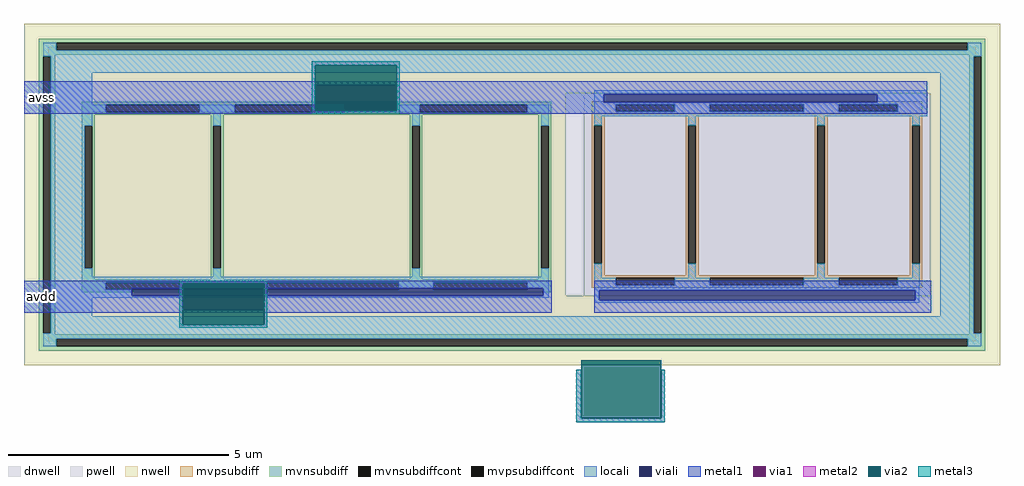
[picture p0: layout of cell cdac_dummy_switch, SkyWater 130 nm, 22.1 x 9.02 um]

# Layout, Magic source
magic
tech sky130A
magscale 1 2
<< dnwell >>
rect 44121 -15586 48322 -14252
<< nwell >>
rect 44011 -14464 48431 -14149
rect 44011 -15380 46465 -14464
rect 48116 -15380 48431 -14464
rect 44011 -15695 48431 -15380
<< pwell >>
rect 46546 -15380 48116 -14464
<< mvpsubdiff >>
rect 46582 -14512 48080 -14500
rect 46582 -14546 46690 -14512
rect 46958 -14546 47116 -14512
rect 47542 -14546 47700 -14512
rect 47968 -14546 48080 -14512
rect 46582 -14558 48080 -14546
rect 46582 -14608 46640 -14558
rect 46582 -15236 46594 -14608
rect 46628 -15236 46640 -14608
rect 46582 -15286 46640 -15236
rect 47008 -14608 47066 -14558
rect 47008 -15236 47020 -14608
rect 47054 -15236 47066 -14608
rect 47008 -15286 47066 -15236
rect 47592 -14608 47650 -14558
rect 47592 -15236 47604 -14608
rect 47638 -15236 47650 -14608
rect 47592 -15286 47650 -15236
rect 48022 -14608 48080 -14558
rect 48022 -15236 48034 -14608
rect 48068 -15236 48080 -14608
rect 48022 -15286 48080 -15236
rect 46582 -15298 48080 -15286
rect 46582 -15332 46690 -15298
rect 46958 -15332 47116 -15298
rect 47542 -15332 47700 -15298
rect 47968 -15332 48080 -15298
rect 46582 -15344 48080 -15332
<< mvnsubdiff >>
rect 44078 -14235 48365 -14215
rect 44078 -14269 44158 -14235
rect 48285 -14269 48365 -14235
rect 44078 -14289 48365 -14269
rect 44078 -14295 44152 -14289
rect 44078 -15549 44098 -14295
rect 44132 -15549 44152 -14295
rect 48291 -14295 48365 -14289
rect 44273 -14514 46399 -14502
rect 44273 -14548 44381 -14514
rect 44807 -14548 44965 -14514
rect 45463 -14548 45803 -14514
rect 46291 -14548 46399 -14514
rect 44273 -14560 46399 -14548
rect 44273 -14610 44331 -14560
rect 44273 -15256 44285 -14610
rect 44319 -15256 44331 -14610
rect 44273 -15306 44331 -15256
rect 44857 -14610 44915 -14560
rect 44857 -15256 44869 -14610
rect 44903 -15256 44915 -14610
rect 44857 -15306 44915 -15256
rect 45757 -14610 45815 -14560
rect 45757 -15256 45769 -14610
rect 45803 -15256 45815 -14610
rect 45757 -15306 45815 -15256
rect 46341 -14610 46399 -14560
rect 46341 -15256 46353 -14610
rect 46387 -15256 46399 -14610
rect 46341 -15306 46399 -15256
rect 44273 -15318 46399 -15306
rect 44273 -15352 44381 -15318
rect 45707 -15352 45865 -15318
rect 46291 -15352 46399 -15318
rect 44273 -15364 46399 -15352
rect 44078 -15555 44152 -15549
rect 48291 -15549 48311 -14295
rect 48345 -15549 48365 -14295
rect 48291 -15555 48365 -15549
rect 44078 -15575 48365 -15555
rect 44078 -15609 44158 -15575
rect 48285 -15609 48365 -15575
rect 44078 -15629 48365 -15609
<< mvpsubdiffcont >>
rect 46690 -14546 46958 -14512
rect 47116 -14546 47542 -14512
rect 47700 -14546 47968 -14512
rect 46594 -15236 46628 -14608
rect 47020 -15236 47054 -14608
rect 47604 -15236 47638 -14608
rect 48034 -15236 48068 -14608
rect 46690 -15332 46958 -15298
rect 47116 -15332 47542 -15298
rect 47700 -15332 47968 -15298
<< mvnsubdiffcont >>
rect 44158 -14269 48285 -14235
rect 44098 -15549 44132 -14295
rect 44381 -14548 44807 -14514
rect 44965 -14548 45463 -14514
rect 45803 -14548 46291 -14514
rect 44285 -15256 44319 -14610
rect 44869 -15256 44903 -14610
rect 45769 -15256 45803 -14610
rect 46353 -15256 46387 -14610
rect 44381 -15352 45707 -15318
rect 45865 -15352 46291 -15318
rect 48311 -15549 48345 -14295
rect 44158 -15609 48285 -15575
<< locali >>
rect 44098 -14269 44158 -14235
rect 48285 -14269 48345 -14235
rect 44098 -14295 48345 -14269
rect 44132 -14369 48311 -14295
rect 44132 -14514 44319 -14369
rect 46594 -14467 48101 -14449
rect 46594 -14504 46637 -14467
rect 47874 -14504 48101 -14467
rect 46594 -14512 48101 -14504
rect 44132 -14548 44381 -14514
rect 44807 -14548 44965 -14514
rect 45463 -14548 45803 -14514
rect 46291 -14548 46387 -14514
rect 44132 -14610 44319 -14548
rect 44132 -15256 44285 -14610
rect 44132 -15294 44319 -15256
rect 44869 -14610 44903 -14548
rect 44869 -15294 44903 -15256
rect 45769 -14610 45803 -14548
rect 45769 -15294 45803 -15256
rect 46353 -14610 46387 -14548
rect 46353 -15294 46387 -15256
rect 46594 -14546 46690 -14512
rect 46958 -14546 47116 -14512
rect 47542 -14546 47700 -14512
rect 47968 -14546 48101 -14512
rect 46594 -14566 48101 -14546
rect 46594 -14608 46628 -14566
rect 44132 -15318 46388 -15294
rect 44132 -15352 44381 -15318
rect 45707 -15345 45865 -15318
rect 46291 -15345 46388 -15318
rect 44132 -15380 44500 -15352
rect 46363 -15380 46388 -15345
rect 44132 -15388 46388 -15380
rect 46594 -15298 46628 -15236
rect 47020 -14608 47054 -14566
rect 47020 -15298 47054 -15236
rect 47604 -14608 47638 -14566
rect 47604 -15298 47638 -15236
rect 48034 -14608 48068 -14566
rect 48034 -15298 48068 -15236
rect 46594 -15332 46690 -15298
rect 46958 -15332 47116 -15298
rect 47542 -15332 47700 -15298
rect 47968 -15332 48068 -15298
rect 46594 -15355 48066 -15332
rect 44132 -15473 44319 -15388
rect 46594 -15401 46616 -15355
rect 48048 -15401 48066 -15355
rect 46594 -15411 48066 -15401
rect 48160 -15473 48311 -14369
rect 44132 -15549 48311 -15473
rect 44098 -15575 48345 -15549
rect 44098 -15609 44158 -15575
rect 48285 -15609 48345 -15575
<< viali >>
rect 46637 -14504 47874 -14467
rect 44500 -15352 45707 -15345
rect 45707 -15352 45865 -15345
rect 45865 -15352 46291 -15345
rect 46291 -15352 46363 -15345
rect 44500 -15380 46363 -15352
rect 46616 -15401 48048 -15355
<< metal1 >>
rect 44011 -14426 48101 -14409
rect 44011 -14543 45331 -14426
rect 45698 -14467 48101 -14426
rect 45698 -14504 46637 -14467
rect 47874 -14504 48101 -14467
rect 45698 -14543 48101 -14504
rect 44011 -14555 48101 -14543
rect 44011 -15325 46402 -15311
rect 44011 -15345 44729 -15325
rect 45097 -15345 46402 -15325
rect 44011 -15380 44500 -15345
rect 46363 -15380 46402 -15345
rect 44011 -15444 44729 -15380
rect 45097 -15444 46402 -15380
rect 44011 -15457 46402 -15444
rect 46594 -15355 48119 -15311
rect 46594 -15401 46616 -15355
rect 48048 -15401 48119 -15355
rect 46594 -15457 48119 -15401
<< via1 >>
rect 45331 -14543 45698 -14426
rect 44729 -15345 45097 -15325
rect 44729 -15380 45097 -15345
rect 44729 -15444 45097 -15380
<< metal2 >>
rect 45313 -14336 45713 -14318
rect 45313 -14543 45330 -14336
rect 45698 -14543 45713 -14336
rect 45313 -14555 45713 -14543
rect 44713 -15325 45113 -15311
rect 44713 -15512 44729 -15325
rect 45098 -15512 45113 -15325
rect 44713 -15525 45113 -15512
rect 46513 -15935 46534 -15714
rect 46896 -15935 46913 -15714
rect 46513 -15952 46913 -15935
<< via2 >>
rect 45330 -14426 45698 -14336
rect 45330 -14543 45331 -14426
rect 45331 -14543 45698 -14426
rect 44729 -15444 45097 -15325
rect 45097 -15444 45098 -15325
rect 44729 -15512 45098 -15444
rect 46534 -15935 46896 -15673
<< metal3 >>
rect 45313 -14336 45713 -14318
rect 45313 -14543 45330 -14336
rect 45698 -14543 45713 -14336
rect 45313 -14555 45713 -14543
rect 44713 -15325 45113 -15311
rect 44713 -15512 44729 -15325
rect 45098 -15512 45113 -15325
rect 44713 -15525 45113 -15512
rect 46513 -15935 46534 -15714
rect 46896 -15935 46913 -15714
rect 46513 -15952 46913 -15935
<< labels >>
flabel metal1 44011 -14555 44167 -14409 0 FreeSans 800 0 0 0 avss
port 5 nsew
flabel metal1 44011 -15457 44167 -15311 0 FreeSans 800 0 0 0 avdd
port 4 nsew
<< end >>
